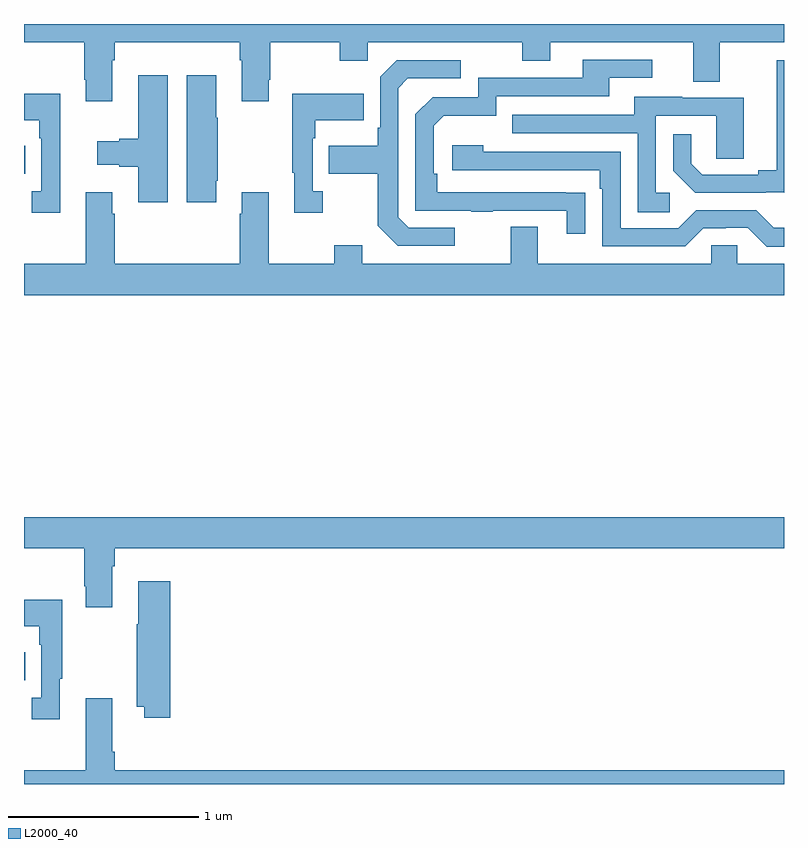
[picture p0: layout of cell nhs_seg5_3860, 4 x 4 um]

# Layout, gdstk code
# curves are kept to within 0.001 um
import gdstk
lib = gdstk.Library(unit=1e-6, precision=1e-09)
def R(c, l, rs):  # rectangles x0, y0, x1, y1
    for r in rs: c.add(gdstk.rectangle(r[:2], r[2:], *l))
def P(c, l, *ps):  # polygons
    for p in ps: c.add(gdstk.Polygon(p, *l))
L2000_40 = (2000, 40)

nhs_seg5_3860 = lib.new_cell('nhs_seg5_3860')
R(nhs_seg5_3860, L2000_40, [(337,909.346,337.007,909.493), (337,912.01,337.007,912.157)])
P(nhs_seg5_3860, L2000_40, [(337.465,912.608),(337.478,912.608),(337.478,912.704),(338.135,912.704),(338.135,912.608),(338.147,912.608),(338.147,912.393),(338.287,912.393),(338.287,912.505),(338.295,912.505),(338.295,912.704),(338.662,912.704),(338.662,912.605),(338.808,912.605),(338.808,912.704),(339.622,912.704),(339.622,912.605),(339.769,912.605),(339.769,912.704),(340.523,912.704),(340.523,912.496),(340.663,912.496),(340.663,912.704),(341,912.704),(341,912.799),(337,912.799),(337,912.704),(337.318,912.704),(337.318,912.505),(337.325,912.505),(337.325,912.393),(337.465,912.393)],
  [(339.953,911.912),(339.176,911.913),(339.176,912.01),(339.156,912.01),(339.156,912.264),(339.209,912.317),(339.486,912.317),(339.486,912.42),(340.081,912.42),(340.081,912.516),(340.306,912.516),(340.306,912.612),(339.941,912.612),(339.941,912.516),(339.39,912.516),(339.39,912.414),(339.15,912.414),(339.06,912.324),(339.06,911.817),(339.355,911.817),(339.355,911.812),(339.467,911.812),(339.467,911.817),(339.857,911.817),(339.857,911.694),(339.953,911.694)],
  [(340.904,911.913),(340.998,911.913),(341,911.911),(341,912.609),(340.961,912.609),(340.961,912.029),(340.865,912.029),(340.865,912.006),(340.57,912.006),(340.513,912.063),(340.513,912.22),(340.416,912.22),(340.416,912.026),(340.532,911.91),(340.904,911.91)],
  [(339.268,911.727),(339.024,911.727),(338.97,911.781),(338.97,912.462),(339.021,912.513),(339.298,912.513),(339.298,912.609),(338.961,912.609),(338.874,912.522),(338.874,912.253),(338.862,912.253),(338.862,912.157),(338.605,912.157),(338.605,912.01),(338.862,912.01),(338.862,911.737),(338.967,911.631),(339.268,911.631)],
  [(337.756,912.529),(337.601,912.529),(337.601,912.194),(337.502,912.194),(337.502,912.181),(337.386,912.181),(337.386,912.059),(337.502,912.059),(337.502,912.047),(337.601,912.047),(337.601,911.862),(337.756,911.862)],
  [(338.011,911.974),(338.019,911.974),(338.019,912.305),(338.011,912.305),(338.011,912.529),(337.856,912.529),(337.856,911.862),(338.011,911.862)],
  [(337.19,912.433),(337,912.433),(337,912.293),(337.08,912.293),(337.08,912.197),(337.092,912.197),(337.092,911.918),(337.041,911.918),(337.041,911.805),(337.19,911.805)],
  [(338.572,911.918),(338.52,911.918),(338.52,912.197),(338.533,912.197),(338.533,912.293),(338.789,912.293),(338.789,912.433),(338.412,912.433),(338.412,912.017),(338.423,912.017),(338.423,911.805),(338.572,911.805)],
  [(340.399,911.91),(340.326,911.91),(340.326,912.315),(340.644,912.315),(340.644,912.091),(340.789,912.091),(340.789,912.411),(340.465,912.411),(340.465,912.415),(340.211,912.415),(340.211,912.321),(339.571,912.321),(339.571,912.225),(340.23,912.225),(340.23,911.809),(340.399,911.809)],
  [(341,911.727),(340.947,911.727),(340.854,911.82),(340.539,911.82),(340.443,911.724),(340.14,911.724),(340.14,912.126),(339.416,912.126),(339.416,912.16),(339.255,912.16),(339.255,912.03),(340.031,912.03),(340.031,911.933),(340.044,911.933),(340.044,911.628),(340.479,911.628),(340.575,911.724),(340.694,911.724),(340.694,911.727),(340.809,911.727),(340.909,911.627),(341,911.627)],
  [(341,911.536),(340.755,911.536),(340.755,911.634),(340.617,911.634),(340.617,911.536),(339.703,911.536),(339.703,911.731),(339.563,911.731),(339.563,911.536),(338.779,911.536),(338.779,911.635),(338.632,911.635),(338.632,911.536),(338.287,911.536),(338.287,911.914),(338.147,911.914),(338.147,911.801),(338.135,911.801),(338.135,911.536),(337.478,911.536),(337.478,911.801),(337.465,911.801),(337.465,911.914),(337.325,911.914),(337.325,911.536),(337,911.536),(337,911.372),(341,911.372)],
  [(337.465,909.944),(337.478,909.944),(337.478,910.04),(341,910.04),(341,910.204),(337,910.204),(337,910.04),(337.318,910.04),(337.318,909.841),(337.325,909.841),(337.325,909.729),(337.465,909.729)],
  [(337.769,909.865),(337.601,909.865),(337.601,909.641),(337.594,909.641),(337.594,909.206),(337.634,909.206),(337.634,909.147),(337.769,909.147)],
  [(337.189,909.353),(337.201,909.353),(337.201,909.769),(337,909.769),(337,909.629),(337.08,909.629),(337.08,909.533),(337.092,909.533),(337.092,909.254),(337.041,909.254),(337.041,909.141),(337.189,909.141)],
  [(341,908.872),(337.478,908.872),(337.478,908.968),(337.465,908.968),(337.465,909.25),(337.325,909.25),(337.325,908.872),(337,908.872),(337,908.799),(341,908.799)])

lib.write_gds('nhs_seg5_3860.gds')
